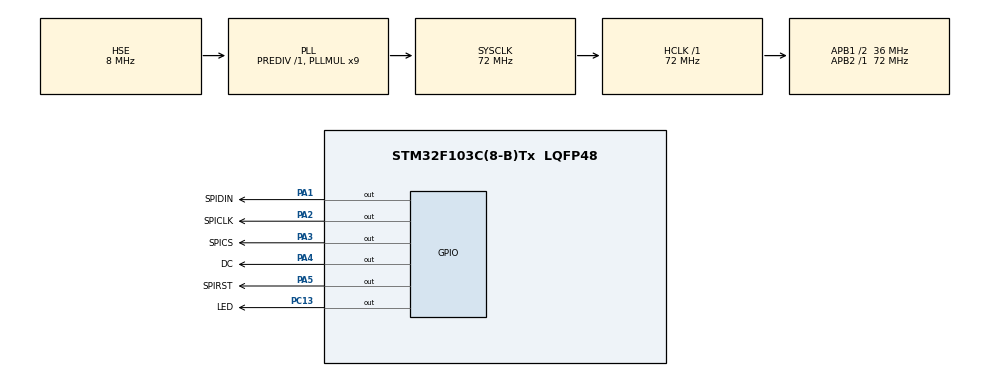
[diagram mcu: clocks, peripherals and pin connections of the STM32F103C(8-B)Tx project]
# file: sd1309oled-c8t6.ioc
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Mcu.Family=STM32F1
Mcu.Name=STM32F103C(8-B)Tx
Mcu.Package=LQFP48
NVIC.PriorityGroup=NVIC_PRIORITYGROUP_4
PA1.GPIO_Label=SPIDIN
PA1.GPIO_Speed=GPIO_SPEED_FREQ_HIGH
PA1.Signal=GPIO_Output
PA2.GPIO_Label=SPICLK
PA2.GPIO_Speed=GPIO_SPEED_FREQ_HIGH
PA2.Signal=GPIO_Output
PA3.GPIO_Label=SPICS
PA3.Signal=GPIO_Output
PA4.GPIO_Label=DC
PA4.GPIO_Speed=GPIO_SPEED_FREQ_MEDIUM
PA4.Signal=GPIO_Output
PA5.GPIO_Label=SPIRST
PA5.Signal=GPIO_Output
PC13-TAMPER-RTC.GPIO_Label=LED
PC13-TAMPER-RTC.Signal=GPIO_Output
PC14-OSC32_IN.Mode=LSE-External-Clock-Source
PC14-OSC32_IN.Signal=RCC_OSC32_IN
PC15-OSC32_OUT.Mode=LSE-External-Clock-Source
PC15-OSC32_OUT.Signal=RCC_OSC32_OUT
PD0-OSC_IN.Mode=HSE-External-Oscillator
PD0-OSC_IN.Signal=RCC_OSC_IN
PD1-OSC_OUT.Mode=HSE-External-Oscillator
PD1-OSC_OUT.Signal=RCC_OSC_OUT
ProjectManager.HeapSize=0x200
ProjectManager.StackSize=0x400
ProjectManager.TargetToolchain=STM32CubeIDE
RCC.AHBFreq_Value=72000000
RCC.APB1CLKDivider=RCC_HCLK_DIV2
RCC.APB1Freq_Value=36000000
RCC.APB1TimFreq_Value=72000000
RCC.APB2Freq_Value=72000000
RCC.APB2TimFreq_Value=72000000
RCC.HCLKFreq_Value=72000000
RCC.PLLMUL=RCC_PLL_MUL9
RCC.PLLSourceVirtual=RCC_PLLSOURCE_HSE
RCC.SYSCLKFreq_VALUE=72000000
RCC.SYSCLKSource=RCC_SYSCLKSOURCE_PLLCLK
RCC.USBFreq_Value=72000000
TIM1.Prescaler=71
VP_SYS_VS_ND.Mode=No_Debug
VP_TIM1_VS_ClockSourceINT.Mode=Internal
board=custom

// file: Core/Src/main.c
/* USER CODE BEGIN Header */
/**
  ******************************************************************************
  * @file           : main.c
  * @brief          : Main program body
  ******************************************************************************
  * @attention
  *
  * Copyright (c) 2023 STMicroelectronics.
  * All rights reserved.
  *
  * This software is licensed under terms that can be found in the LICENSE file
  * in the root directory of this software component.
  * If no LICENSE file comes with this software, it is provided AS-IS.
  *
  ******************************************************************************
  */
/* USER CODE END Header */
#include "main.h"
#include "tim.h"
#include "gpio.h"

/* USER CODE BEGIN Includes */
#include "u8g2.h"
#include "hal_delay_us.h"
/* USER CODE END Includes */

void SystemClock_Config(void);

/* USER CODE BEGIN 0 */
uint8_t u8g2_gpio_and_delay_stm32(U8X8_UNUSED u8x8_t *u8x8, U8X8_UNUSED uint8_t msg, U8X8_UNUSED uint8_t arg_int, U8X8_UNUSED void *arg_ptr)
{
    switch(msg){
        //Initialize SPI peripheral
        case U8X8_MSG_GPIO_AND_DELAY_INIT:
            /* HAL initialization contains all what we need so we can skip this part. */
            break;

            //Function which implements a delay, arg_int contains the amount of ms
        case U8X8_MSG_DELAY_MILLI:
            HAL_Delay(arg_int);
            break;
            //Function which delays 10us
        case U8X8_MSG_DELAY_10MICRO:
            hal_Delay_us(&htim1,10);
            break;
            //Function which delays 100ns
        case U8X8_MSG_DELAY_100NANO:
            __NOP();
            break;
            //Function to define the logic level of the clockline
        case U8X8_MSG_GPIO_SPI_CLOCK:
            if (arg_int) HAL_GPIO_WritePin(SPICLK_GPIO_Port, SPICLK_Pin, GPIO_PIN_SET);
            else HAL_GPIO_WritePin(SPICLK_GPIO_Port, SPICLK_Pin, GPIO_PIN_RESET);

            break;
            //Function to define the logic level of the data line to the display
        case U8X8_MSG_GPIO_SPI_DATA:
            if (arg_int) HAL_GPIO_WritePin(SPIDIN_GPIO_Port, SPIDIN_Pin, GPIO_PIN_SET);
            else HAL_GPIO_WritePin(SPIDIN_GPIO_Port, SPIDIN_Pin, GPIO_PIN_RESET);

            break;
            // Function to define the logic level of the CS line
        case U8X8_MSG_GPIO_CS:
            if (arg_int) HAL_GPIO_WritePin(SPICS_GPIO_Port, SPICS_Pin, GPIO_PIN_SET);
            else HAL_GPIO_WritePin(SPICS_GPIO_Port, SPICS_Pin, GPIO_PIN_RESET);

            break;
            //Function to define the logic level of the Data/ Command line
        case U8X8_MSG_GPIO_DC:
			if (arg_int) HAL_GPIO_WritePin(DC_GPIO_Port, DC_Pin, GPIO_PIN_SET);
			else HAL_GPIO_WritePin(DC_GPIO_Port, DC_Pin, GPIO_PIN_RESET);

            break;
            //Function to define the logic level of the RESET line
        case U8X8_MSG_GPIO_RESET:
            if (arg_int) HAL_GPIO_WritePin(SPIRST_GPIO_Port, SPIRST_Pin, GPIO_PIN_SET);
            else HAL_GPIO_WritePin(SPIRST_GPIO_Port, SPIRST_Pin, GPIO_PIN_RESET);

            break;
        default:
            return 0; //A message was received which is not implemented, return 0 to indicate an error
    }

    return 1; // command processed successfully.
}
void draw(u8g2_t *u8g2)
{
    u8g2_SetFontMode(u8g2, 1); /*字体模式选择*/
    u8g2_SetFontDirection(u8g2, 0); /*字体方向选择*/
    u8g2_SetFont(u8g2, u8g2_font_inb24_mf); /*字库选择*/
    u8g2_DrawStr(u8g2, 0, 20, "U");

    u8g2_SetFontDirection(u8g2, 1);
    u8g2_SetFont(u8g2, u8g2_font_inb30_mn);
    u8g2_DrawStr(u8g2, 21,8,"8");

    u8g2_SetFontDirection(u8g2, 0);
    u8g2_SetFont(u8g2, u8g2_font_inb24_mf);
    u8g2_DrawStr(u8g2, 51,30,"g");
    u8g2_DrawStr(u8g2, 67,30,"\xb2");

    u8g2_DrawHLine(u8g2, 2, 35, 47);
    u8g2_DrawHLine(u8g2, 3, 36, 47);
    u8g2_DrawVLine(u8g2, 45, 32, 12);
    u8g2_DrawVLine(u8g2, 46, 33, 12);

    u8g2_SetFont(u8g2, u8g2_font_4x6_tr);
    u8g2_DrawStr(u8g2, 1,54,"github.com/olikraus/u8g2");

    u8g2_SendBuffer(u8g2);
}

/* USER CODE END 0 */

int main(void)
{

  /* MCU Configuration--------------------------------------------------------*/

  /* Reset of all peripherals, Initializes the Flash interface and the Systick. */
  HAL_Init();

  /* Configure the system clock */
  SystemClock_Config();

  /* Initialize all configured peripherals */
  MX_GPIO_Init();
  MX_TIM1_Init();
  /* USER CODE BEGIN 2 */
    u8g2_t u8g2; // a structure which will contain all the data for one display
    //u8g2_Setup_ssd1309_128x64_noname0_f(&u8g2, U8G2_R0,u8x8_byte_4wire_sw_spi ,u8g2_gpio_and_delay_stm32);
    u8g2_Setup_ssd1306_128x64_noname_f(&u8g2, U8G2_R0, u8x8_byte_4wire_sw_spi, u8g2_gpio_and_delay_stm32);
    u8g2_InitDisplay(&u8g2); // send init sequence to the display, display is in sleep mode after this,
    HAL_Delay(10);
    u8g2_SetPowerSave(&u8g2, 0); // wake up display
    u8g2_ClearBuffer(&u8g2);
    HAL_Delay(100);
    //draw(&u8g2);
    u8g2_DrawFrame(&u8g2,30,30,30,30);
    u8g2_DrawPixel(&u8g2,40,40);
    u8g2_SendBuffer(&u8g2);

  /* USER CODE END 2 */

  /* Infinite loop */
  while (1)
  {

  }
}

void SystemClock_Config(void)
{
  RCC_OscInitTypeDef RCC_OscInitStruct = {0};
  RCC_ClkInitTypeDef RCC_ClkInitStruct = {0};

  /** Initializes the RCC Oscillators according to the specified parameters
  * in the RCC_OscInitTypeDef structure.
  */
  RCC_OscInitStruct.OscillatorType = RCC_OSCILLATORTYPE_HSE;
  RCC_OscInitStruct.HSEState = RCC_HSE_ON;
  RCC_OscInitStruct.HSEPredivValue = RCC_HSE_PREDIV_DIV1;
  RCC_OscInitStruct.HSIState = RCC_HSI_ON;
  RCC_OscInitStruct.PLL.PLLState = RCC_PLL_ON;
  RCC_OscInitStruct.PLL.PLLSource = RCC_PLLSOURCE_HSE;
  RCC_OscInitStruct.PLL.PLLMUL = RCC_PLL_MUL9;
  if (HAL_RCC_OscConfig(&RCC_OscInitStruct) != HAL_OK)
  {
    Error_Handler();
  }

  /** Initializes the CPU, AHB and APB buses clocks
  */
  RCC_ClkInitStruct.ClockType = RCC_CLOCKTYPE_HCLK|RCC_CLOCKTYPE_SYSCLK
                              |RCC_CLOCKTYPE_PCLK1|RCC_CLOCKTYPE_PCLK2;
  RCC_ClkInitStruct.SYSCLKSource = RCC_SYSCLKSOURCE_PLLCLK;
  RCC_ClkInitStruct.AHBCLKDivider = RCC_SYSCLK_DIV1;
  RCC_ClkInitStruct.APB1CLKDivider = RCC_HCLK_DIV2;
  RCC_ClkInitStruct.APB2CLKDivider = RCC_HCLK_DIV1;

  if (HAL_RCC_ClockConfig(&RCC_ClkInitStruct, FLASH_LATENCY_2) != HAL_OK)
  {
    Error_Handler();
  }
}

void Error_Handler(void)
{
  __disable_irq();
  while (1)
  {
  }
}
